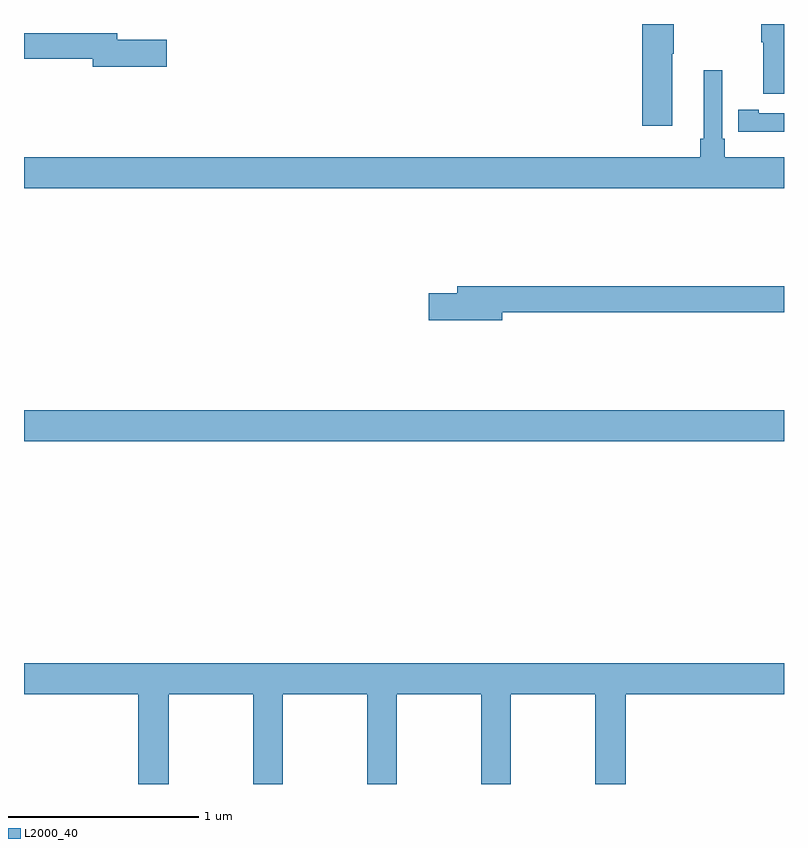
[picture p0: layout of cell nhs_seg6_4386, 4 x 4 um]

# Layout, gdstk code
import gdstk
lib = gdstk.Library(unit=1e-6, precision=1e-09)
def R(c, l, rs):  # rectangles x0, y0, x1, y1
    for r in rs: c.add(gdstk.rectangle(r[:2], r[2:], *l))
def P(c, l, *ps):  # polygons
    for p in ps: c.add(gdstk.Polygon(p, *l))
L2000_40 = (2000, 40)

nhs_seg6_4386 = lib.new_cell('nhs_seg6_4386')
R(nhs_seg6_4386, L2000_40, [(369,979.304,373,979.468)])
P(nhs_seg6_4386, L2000_40, [(373,981.5),(372.879,981.5),(372.879,981.403),(372.89,981.403),(372.89,981.132),(373,981.132)],
  [(372.412,981.343),(372.42,981.343),(372.42,981.5),(372.254,981.5),(372.254,980.964),(372.412,980.964)],
  [(369.751,981.416),(369.49,981.416),(369.49,981.452),(369,981.452),(369,981.316),(369.362,981.316),(369.362,981.274),(369.751,981.274)],
  [(373,980.8),(372.689,980.8),(372.689,980.896),(372.675,980.896),(372.675,981.256),(372.578,981.256),(372.578,980.896),(372.559,980.896),(372.559,980.8),(369,980.8),(369,980.636),(373,980.636)],
  [(373,981.03),(372.868,981.03),(372.868,981.05),(372.76,981.05),(372.76,980.934),(372.868,980.934),(372.868,980.933),(373,980.933)],
  [(371.518,979.984),(373,979.984),(373,980.12),(371.279,980.12),(371.279,980.084),(371.13,980.084),(371.13,979.942),(371.518,979.942)],
  [(369.762,977.972),(370.207,977.972),(370.207,977.5),(370.362,977.5),(370.362,977.972),(370.807,977.972),(370.807,977.5),(370.962,977.5),(370.962,977.972),(371.407,977.972),(371.407,977.5),(371.562,977.5),(371.562,977.972),(372.007,977.972),(372.007,977.5),(372.167,977.5),(372.167,977.972),(373,977.972),(373,978.136),(369,978.136),(369,977.972),(369.602,977.972),(369.602,977.5),(369.762,977.5)])

lib.write_gds('nhs_seg6_4386.gds')
